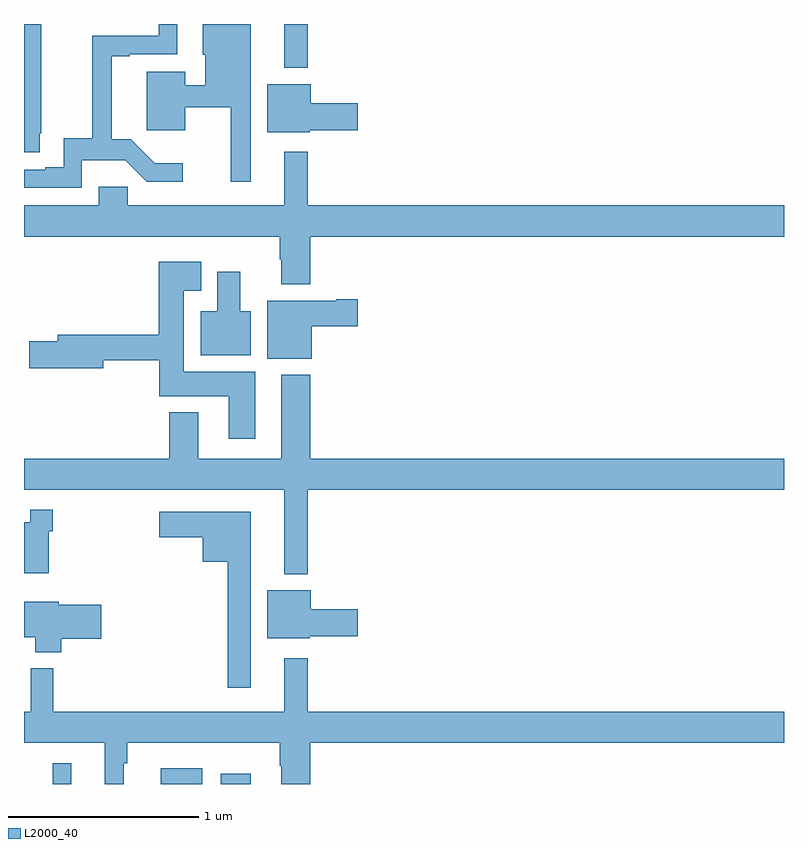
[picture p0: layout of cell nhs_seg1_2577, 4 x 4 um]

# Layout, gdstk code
import gdstk
lib = gdstk.Library(unit=1e-6, precision=1e-09)
def R(c, l, rs):  # rectangles x0, y0, x1, y1
    for r in rs: c.add(gdstk.rectangle(r[:2], r[2:], *l))
def P(c, l, *ps):  # polygons
    for p in ps: c.add(gdstk.Polygon(p, *l))
L2000_40 = (2000, 40)

nhs_seg1_2577 = lib.new_cell('nhs_seg1_2577')
R(nhs_seg1_2577, L2000_40, [(251.151,534.199,251.248,534.307), (251.72,534.199,251.938,534.283), (252.035,534.199,252.193,534.253), (252.371,537.968,252.493,538.199)])
P(nhs_seg1_2577, L2000_40, [(251.304,537.482),(251.533,537.482),(251.646,537.369),(251.836,537.369),(251.836,537.466),(251.687,537.466),(251.561,537.592),(251.462,537.592),(251.462,538.029),(251.557,538.029),(251.557,538.041),(251.806,538.041),(251.806,538.199),(251.708,538.199),(251.708,538.137),(251.359,538.137),(251.359,537.599),(251.208,537.599),(251.208,537.446),(251.111,537.446),(251.111,537.432),(251,537.432),(251,537.336),(251.304,537.336)],
  [(251.084,537.625),(251.09,537.625),(251.09,538.199),(251,538.199),(251,537.523),(251.084,537.523)],
  [(252.193,538.199),(251.942,538.199),(251.942,538.038),(251.954,538.038),(251.954,537.877),(251.848,537.877),(251.848,537.949),(251.645,537.949),(251.645,537.639),(251.848,537.639),(251.848,537.76),(252.089,537.76),(252.089,537.369),(252.193,537.369)],
  [(252.504,537.64),(252.757,537.64),(252.757,537.782),(252.508,537.782),(252.508,537.883),(252.281,537.883),(252.281,537.629),(252.504,537.629)],
  [(252.493,537.526),(252.371,537.526),(252.371,537.244),(251.545,537.244),(251.545,537.342),(251.393,537.342),(251.393,537.244),(251,537.244),(251,537.08),(252.346,537.08),(252.346,536.96),(252.353,536.96),(252.353,536.828),(252.506,536.828),(252.506,537.08),(255,537.08),(255,537.244),(252.493,537.244)],
  [(252.217,536.368),(251.842,536.368),(251.842,536.795),(251.932,536.795),(251.932,536.947),(251.708,536.947),(251.708,536.564),(251.177,536.564),(251.177,536.528),(251.028,536.528),(251.028,536.386),(251.416,536.386),(251.416,536.428),(251.713,536.428),(251.713,536.24),(252.077,536.24),(252.077,536.016),(252.217,536.016)],
  [(252.193,536.686),(252.139,536.686),(252.139,536.896),(252.017,536.896),(252.017,536.686),(251.93,536.686),(251.93,536.456),(252.193,536.456)],
  [(252.514,536.609),(252.757,536.609),(252.757,536.751),(252.644,536.751),(252.644,536.743),(252.281,536.743),(252.281,536.438),(252.514,536.438)],
  [(252.493,535.748),(255,535.748),(255,535.912),(252.506,535.912),(252.506,536.353),(252.353,536.353),(252.353,535.912),(251.917,535.912),(251.917,536.155),(251.765,536.155),(251.765,535.912),(251,535.912),(251,535.748),(252.371,535.748),(252.371,535.304),(252.493,535.304)],
  [(251.13,535.529),(251.15,535.529),(251.15,535.642),(251.033,535.642),(251.033,535.576),(251,535.576),(251,535.307),(251.13,535.307)],
  [(252.193,535.633),(251.712,535.633),(251.712,535.499),(251.942,535.499),(251.942,535.37),(252.072,535.37),(252.072,534.705),(252.193,534.705)],
  [(252.504,534.976),(252.757,534.976),(252.757,535.118),(252.508,535.118),(252.508,535.219),(252.281,535.219),(252.281,534.965),(252.504,534.965)],
  [(251.195,534.964),(251.407,534.964),(251.407,535.142),(251.182,535.142),(251.182,535.159),(251,535.159),(251,534.971),(251.06,534.971),(251.06,534.893),(251.195,534.893)],
  [(251.525,534.308),(251.543,534.308),(251.543,534.416),(252.346,534.416),(252.346,534.296),(252.353,534.296),(252.353,534.199),(252.506,534.199),(252.506,534.416),(255,534.416),(255,534.58),(252.493,534.58),(252.493,534.862),(252.371,534.862),(252.371,534.58),(251.153,534.58),(251.153,534.808),(251.036,534.808),(251.036,534.58),(251,534.58),(251,534.416),(251.426,534.416),(251.426,534.199),(251.525,534.199)])

lib.write_gds('nhs_seg1_2577.gds')
